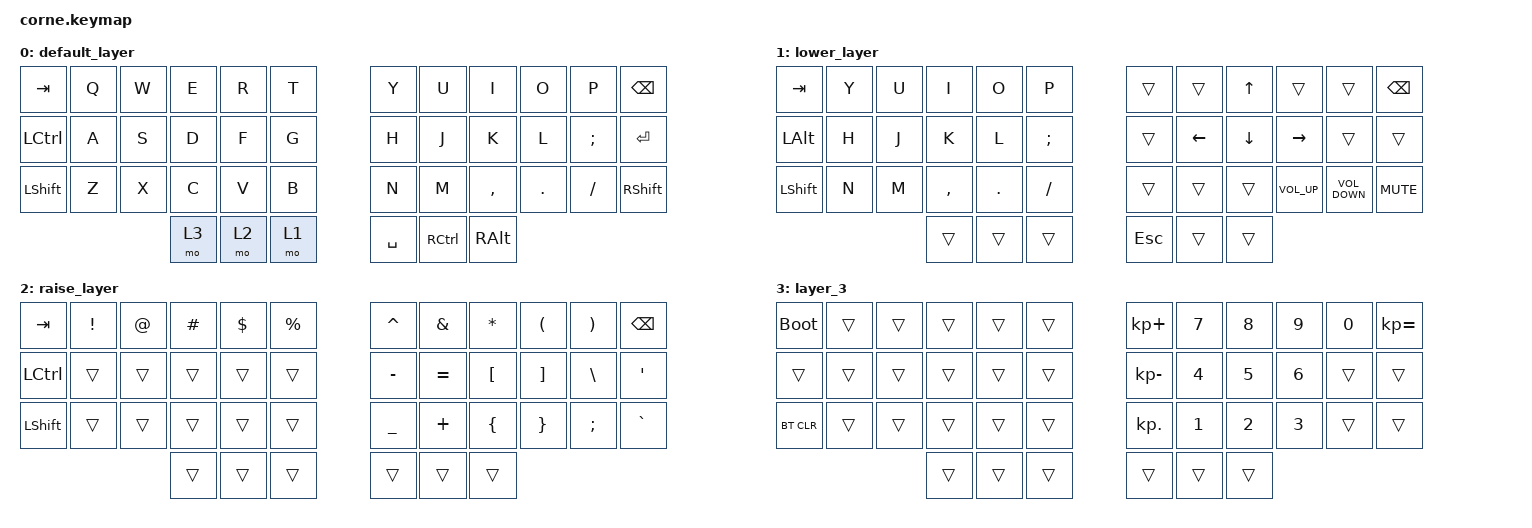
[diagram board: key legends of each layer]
/*
 * Copyright (c) 2020 The ZMK Contributors
 *
 * SPDX-License-Identifier: MIT
 */

#include <behaviors.dtsi>
#include <dt-bindings/zmk/bt.h>
#include <dt-bindings/zmk/keys.h>

/ {
    keymap {
        compatible = "zmk,keymap";

        default_layer {
            // -----------------------------------------------------------------------------------------
            // |  TAB |  Q  |  W  |  E  |  R  |  T  |   |  Y  |  U   |  I  |  O  |  P  | BSPC |
            // | CTRL |  A  |  S  |  D  |  F  |  G  |   |  H  |  J   |  K  |  L  |  ;  | ENTR |
            // | SHFT |  Z  |  X  |  C  |  V  |  B  |   |  N  |  M   |  ,  |  .  |  /  | RSHIT|
            //                    | GUI | LWR | SPC |   | ENT | RSE  | ALT |

            bindings = <
&kp TAB    &kp Q  &kp W  &kp E  &kp R  &kp T    &kp Y      &kp U      &kp I      &kp O    &kp P     &kp BSPC
&kp LCTRL  &kp A  &kp S  &kp D  &kp F  &kp G    &kp H      &kp J      &kp K      &kp L    &kp SEMI  &kp ENTER
&kp LSHFT  &kp Z  &kp X  &kp C  &kp V  &kp B    &kp N      &kp M      &kp COMMA  &kp DOT  &kp FSLH  &kp RIGHT_SHIFT
                         &mo 3  &mo 2  &mo 1    &kp SPACE  &kp RCTRL  &kp RALT
            >;
        };

        lower_layer {
            // -----------------------------------------------------------------------------------------
            // |  TAB |     |     |     |     |     |   |     |     |  UP |     |     | BSPC |
            // | LALT | ESC |     |     |     |     |   |     | LFT | DWN | RGT |     |      |
            // | SHFT |     |     |     |     |     |   |     |     |     |VOLDN|VOLUP| MUTE |
            //                    |     |     |     |   |     |     |     |

            bindings = <
&kp TAB    &kp Y       &kp U   &kp I           &kp O   &kp P            &trans  &trans          &kp UP_ARROW    &trans           &trans             &kp BSPC
&kp LALT   &kp H       &kp J   &kp K           &kp L   &kp SEMI         &trans  &kp LEFT_ARROW  &kp DOWN_ARROW  &kp RIGHT_ARROW  &trans             &trans
&kp LSHFT  &kp N       &kp M   &kp COMMA       &kp DOT &kp FSLH         &trans  &trans          &trans          &kp C_VOLUME_UP  &kp C_VOLUME_DOWN  &kp C_MUTE
                               &trans          &trans  &trans           &kp ESCAPE  &trans          &trans
            >;
        };

        raise_layer {
            // -----------------------------------------------------------------------------------------
            // |  TAB |  !  |  @  |  #  |  $  |  %  |   |  ^  |  &  |  *  |  (  |  )  | BSPC |
            // | CTRL |     |     |     |     |     |   |  -  |  =  |  [  |  ]  |  \  |  '   |
            // | SHFT |     |     |     |     |     |   |  _  |  +  |  {  |  }  |  ;  |  ~   |
            //                    | GUI |     | SPC |   | ENT |     | ALT |

            bindings = <
&kp TAB    &kp EXCL  &kp AT  &kp HASH  &kp DLLR  &kp PRCNT    &kp CARET  &kp AMPS   &kp ASTRK  &kp LPAR  &kp RPAR  &kp BSPC
&kp LCTRL  &trans    &trans  &trans    &trans    &trans       &kp MINUS  &kp EQUAL  &kp LBKT   &kp RBKT  &kp BSLH  &kp SINGLE_QUOTE
&kp LSHFT  &trans    &trans  &trans    &trans    &trans       &kp UNDER  &kp PLUS   &kp LBRC   &kp RBRC  &kp SEMICOLON  &kp GRAVE
                             &trans    &trans    &trans       &trans     &trans     &trans
            >;
        };

        layer_3 {
            bindings = <
&bootloader  &trans  &trans  &trans  &trans  &trans    &kp KP_PLUS   &kp NUMBER_7  &kp NUMBER_8  &kp NUMBER_9  &kp NUMBER_0  &kp KP_EQUAL
&trans       &trans  &trans  &trans  &trans  &trans    &kp KP_MINUS  &kp NUMBER_4  &kp NUMBER_5  &kp NUMBER_6  &trans        &trans
&bt BT_CLR  &trans  &trans  &trans  &trans  &trans    &kp KP_DOT    &kp NUMBER_1  &kp NUMBER_2  &kp NUMBER_3  &trans        &trans
                        &trans  &trans  &trans    &trans        &trans        &trans
            >;
        };
    };
};
